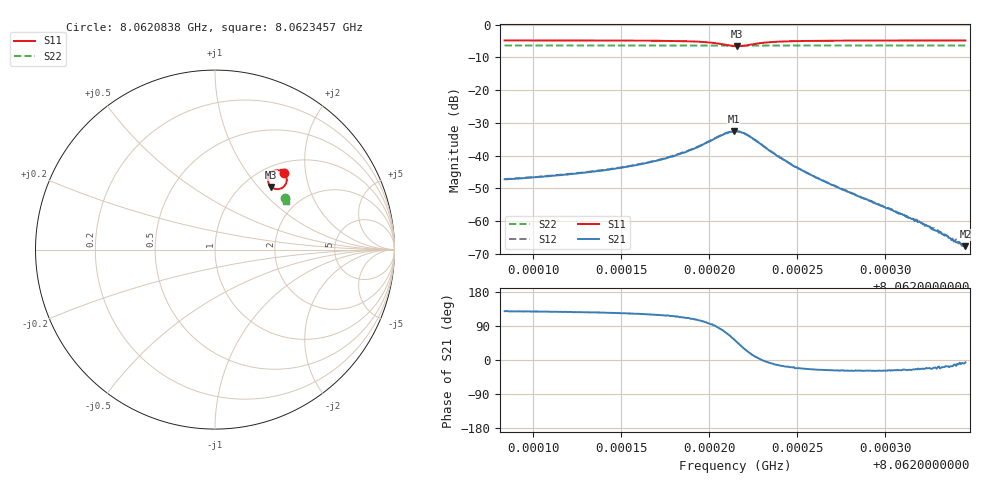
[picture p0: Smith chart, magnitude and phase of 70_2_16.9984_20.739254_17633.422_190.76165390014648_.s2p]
#  HZ  S  RI  R  50.00
! Rohde & Schwarz Vector Network Analyzer
! Rohde-Schwarz,ZNB20-2Port,1311601062101988,3.16
! Created: UTC 3/20/2024, 10:55:10 PM
! freq[Hz]  re:S11  im:S11  re:S21  im:S21  re:S12  im:S12  re:S22  im:S22
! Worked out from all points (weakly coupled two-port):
!   401 points, 8.0620838 GHz to 8.0623457 GHz, reference 50 ohm
!   highest |S21| = -32.57 dB at 8.0622141 GHz (marker M1); lowest = -67.7 dB at 8.0623457 GHz (marker M2)
!   lowest |S11| = -6.6 dB at 8.0622161 GHz (marker M3), VSWR 2.77, Z = 65.7 + j58.8 ohm
!   |S11| at or under -10 dB: nowhere
!   |S22| runs from -6.4 to -6.3 dB; largest |S21 - S12| = 0.0018
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8.06208385e9  0.3828 0.4295  -0.00272 0.00339  -0.0025 0.00358  0.3884 0.2855
8.0621277e9  0.3883 0.4231  -0.00321 0.00441  -0.00298 0.00463  0.39 0.2832
8.06215061e9  0.3923 0.4174  -0.0036 0.00547  -0.00333 0.00575  0.3908 0.2817
8.06217156e9  0.3969 0.4076  -0.00409 0.00748  -0.00369 0.00786  0.3916 0.2803
8.06218727e9  0.4 0.3921  -0.00408 0.0108  -0.00343 0.0112  0.392 0.2788
8.06220036e9  0.3933 0.3638  -0.00161 0.0163  -0.000629 0.0169  0.3917 0.2772
8.06220821e9  0.3669 0.3405  0.00475 0.0206  0.00624 0.0204  0.3902 0.2762
8.0622141e9  0.3265 0.3409  0.0136 0.0192  0.0151 0.0183  0.3886 0.2765
8.06221476e9  0.3218 0.3432  0.0144 0.0184  0.0158 0.0176  0.3887 0.2767
8.06221607e9  0.313 0.3493  0.0163 0.0169  0.0174 0.0159  0.3884 0.2772
8.0622213e9  0.2947 0.384  0.019 0.00884  0.0197 0.00751  0.3883 0.2786
8.06223178e9  0.3147 0.4309  0.0135 -0.00075  0.0134 -0.00165  0.3902 0.2799
8.06224748e9  0.3451 0.4422  0.00671 -0.00239  0.00663 -0.0028  0.3922 0.2792
8.06225861e9  0.3562 0.4416  0.00451 -0.00208  0.0044 -0.00236  0.393 0.2783
8.06228807e9  0.37 0.4372  0.00195 -0.00104  0.00189 -0.00114  0.3945 0.2767
8.06230247e9  0.3737 0.4354  0.00138 -0.000696  0.00128 -0.000817  0.3951 0.2758
8.06232079e9  0.3773 0.4334  0.000847 -0.000369  0.000838 -0.000442  0.3957 0.2748
8.06232799e9  0.3784 0.4326  0.000683 -0.000253  0.000709 -0.000324  0.3959 0.2745
8.06233061e9  0.3788 0.4323  0.000635 -0.000193  0.000636 -0.000286  0.3959 0.2742
8.06233912e9  0.38 0.4315  0.000476 -0.000106  0.000479 -0.00014  0.3962 0.2739
8.06234305e9  0.3805 0.4312  0.000438 -8.42e-05  0.000434 -0.000117  0.3965 0.2736
8.06234567e9  0.3809 0.4309  0.000411 -4.42e-05  0.000419 -7.64e-05  0.3966 0.2735
